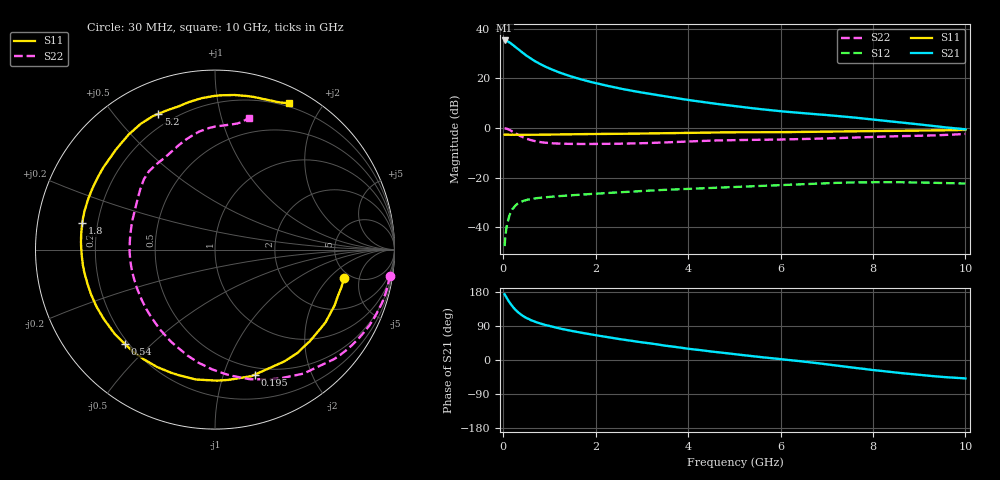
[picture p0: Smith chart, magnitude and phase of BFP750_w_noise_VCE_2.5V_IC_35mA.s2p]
! Infineon Technologies  Discrete & RF Semiconductors
! BFP750
! VCE =  2.5 V,  IC =  35 mA
! Common Emitter S-Parameters:  Jan 2016
# GHz  S  MA  R  50
!  f  S11  S21  S12  S22
! GHz  MAG  ANG  MAG  ANG  MAG  ANG  MAG  ANG
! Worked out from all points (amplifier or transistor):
!   229 points, 30 MHz to 10 GHz, reference 50 ohm
!   highest |S21| = 35.4 dB at 30 MHz (marker M1)
!   |S21| within 3 dB of that: start of sweep to 288.6 MHz
!   unconditionally stable (mu >= 1): 4.323 GHz to end of sweep
!   at 280 MHz: K = 0.14, MSG = 31.8 dB, |S12| = -31.1 dB
!   at 1.78 GHz: K = 0.63, MSG = 23.0 dB, |S12| = -26.8 dB
!   at 10 GHz: K = 1.07, MAG = 9.4 dB, |S12| = -22.4 dB
!   lowest NFmin = 0.89 dB at 450 MHz
!   S11 on the Smith chart (normalised r, x): 30 MHz: 4.41, -3.04; 195 MHz: 0.43, -1.28; 540 MHz: 0.19, -0.42; 1.8 GHz: 0.14, +0.10; 5.2 GHz: 0.14, +0.66; 10 GHz: 0.16, +1.62
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0.03  0.7361 -12.4  58.68 173.5  0.0041 85.1  0.9847 -8.5
0.05  0.7318 -20.6  58.55 168.7  0.0068 81.2  0.9811 -14.5
0.08  0.7371 -33.2  57.3 162.9  0.0109 75.0  0.9647 -23.4
0.12  0.7334 -47.8  54.64 154.9  0.0155 68.1  0.9317 -34.6
0.15  0.7331 -58.2  52.57 149.5  0.0186 63.3  0.9021 -42.5
0.195  0.7311 -72.3  48.85 142.1  0.0225 57.1  0.8524 -53.2
0.26  0.7301 -89.1  43.72 133.1  0.0269 49.7  0.7851 -67.1
0.36  0.7283 -109.6  36.59 122.1  0.0315 41.0  0.6963 -85.1
0.45  0.7287 -123.3  31.45 114.4  0.0341 35.7  0.6368 -98.3
0.54  0.7266 -133.5  27.44 108.8  0.0358 32.0  0.5912 -108.7
0.7  0.7305 -147.7  22.01 100.4  0.038 27.3  0.5406 -124.5
0.9  0.7343 -160.0  17.57 92.7  0.0398 23.9  0.5062 -139.1
1.2  0.7412 -173.2  13.39 83.7  0.042 21.1  0.4841 -154.8
1.7  0.7523 171.3  9.527 71.8  0.0452 18.7  0.4758 -172.5
1.8  0.7539 168.8  8.984 69.5  0.0458 18.3  0.4756 -175.4
2.6  0.7645 151.1  6.083 53.7  0.0508 15.4  0.4833 164.9
3.4  0.7807 136.4  4.509 39.9  0.0558 12.0  0.5065 150.0
5.1  0.8198 113.8  2.703 14.1  0.0649 4.0  0.5717 129.0
5.2  0.8195 112.6  2.636 12.7  0.0655 3.5  0.5726 127.8
6.8  0.8413 97.0  1.888 -8.4  0.0756 -6.0  0.6093 110.6
8.4  0.8744 78.0  1.357 -31.8  0.0805 -20.3  0.6789 92.6
10  0.9147 63.1  0.942 -48.6  0.0756 -31.2  0.7588 75.4
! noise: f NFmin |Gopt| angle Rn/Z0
0.45  0.89  0.14  -166  0.37
0.9  0.91  0.19  -160  0.17
1.5  0.92  0.25  -158  0.08
1.9  0.94  0.27  -153  0.07
2.4  0.96  0.29  -147  0.09
3.5  1.19  0.33  -132  0.08
